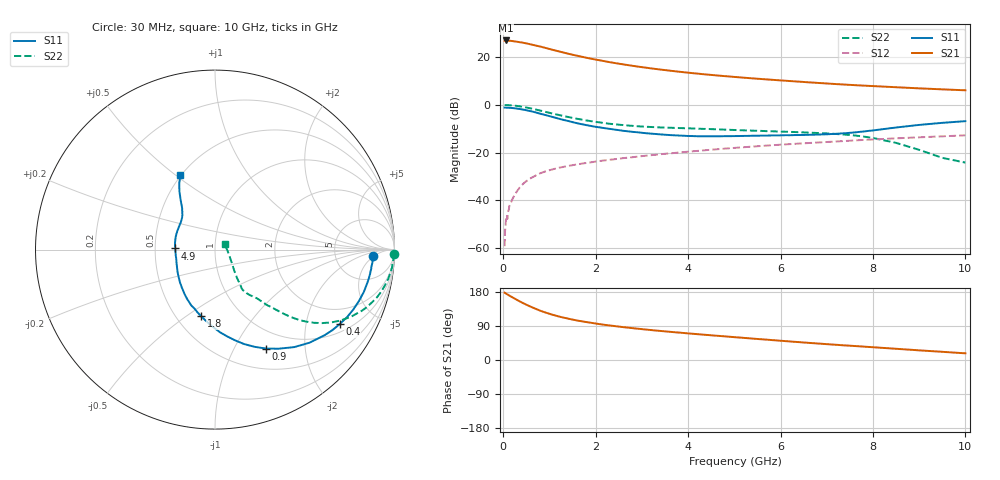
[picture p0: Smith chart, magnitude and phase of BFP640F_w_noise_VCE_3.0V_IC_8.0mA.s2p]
! Infineon Technologies  Discrete & RF Semiconductors
! BFP640F
! VCE =  3.0 V,  IC =  8.0 mA
! Common Emitter S-Parameters:  Apr 2013
# GHz  S  MA  R  50
!  f  S11  S21  S12  S22
! GHz  MAG  ANG  MAG  ANG  MAG  ANG  MAG  ANG
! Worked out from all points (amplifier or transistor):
!   99 points, 30 MHz to 10 GHz, reference 50 ohm
!   highest |S21| = 27.0 dB at 50 MHz (marker M1)
!   |S21| within 3 dB of that: start of sweep to 889.5 MHz
!   unconditionally stable (mu >= 1): 3.424 GHz to end of sweep
!   at 350 MHz: K = 0.15, MSG = 30.5 dB, |S12| = -34.8 dB
!   at 3.5 GHz: K = 1.01, MAG = 17.1 dB, |S12| = -20.5 dB
!   at 10 GHz: K = 1.08, MAG = 7.7 dB, |S12| = -12.7 dB
!   lowest NFmin = 0.59 dB at 450 MHz
!   S11 on the Smith chart (normalised r, x): 30 MHz: 14, -5; 400 MHz: 1.30, -3.12; 900 MHz: 0.75, -1.35; 1.8 GHz: 0.66, -0.57; 4.9 GHz: 0.64, +0.01; 10 GHz: 0.50, +0.52
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0.03  0.8809 -2.4  22.21 177.6  0.0011 118.3  0.9949 -1.4
0.05  0.88 -3.9  22.49 176.2  0.0028 96.1  0.9964 -2.3
0.06  0.8802 -4.7  22.38 175.2  0.0045 82.3  0.9962 -3.0
0.2  0.8623 -15.8  21.83 165.3  0.0107 82.9  0.9783 -9.7
0.4  0.8091 -30.9  20.44 151.9  0.0207 75.7  0.9215 -18.7
0.5  0.7754 -37.9  19.53 145.9  0.0253 73.1  0.8862 -22.6
0.6  0.739 -44.6  18.57 140.3  0.0294 70.3  0.8447 -26.3
0.8  0.6561 -57.3  16.79 130.1  0.037 66.0  0.7637 -32.1
0.9  0.6199 -62.8  15.82 125.9  0.0402 63.9  0.7232 -34.5
1.1  0.5497 -73.0  14.07 118.3  0.0456 60.9  0.6492 -38.2
1.3  0.4879 -82.1  12.57 112.0  0.0504 58.7  0.5873 -40.8
1.5  0.4374 -90.4  11.3 106.7  0.0548 57.3  0.5357 -42.6
1.7  0.3951 -98.3  10.25 102.1  0.0589 56.4  0.4933 -44.0
1.8  0.3785 -101.9  9.768 100.1  0.061 55.9  0.4749 -44.7
2.1  0.3382 -113.0  8.579 94.4  0.0673 54.8  0.4288 -46.6
2.5  0.2971 -125.4  7.334 88.2  0.0749 54.0  0.3862 -48.1
3.4  0.2422 -149.7  5.526 76.7  0.0929 51.8  0.3385 -50.8
4.9  0.2218 178.3  3.946 61.3  0.124 47.5  0.3017 -53.9
5.1  0.2234 174.5  3.804 59.4  0.1282 46.8  0.297 -54.2
6.7  0.2382 147.1  2.945 44.4  0.1614 40.2  0.261 -55.5
8.5  0.3373 124.6  2.355 29.6  0.2 32.0  0.1606 -47.8
10  0.4584 114.8  2.03 17.6  0.2312 24.4  0.062 28.6
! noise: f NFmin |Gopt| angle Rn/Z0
0.45  0.59  0.27  8  0.06
0.9  0.59  0.26  20  0.07
1.5  0.62  0.25  28  0.08
1.9  0.63  0.23  41  0.09
2.4  0.67  0.2  55  0.09
3.5  0.76  0.17  82  0.11
5.5  0.97  0.15  168  0.14
10  1.57  0.41  -101  0.33
